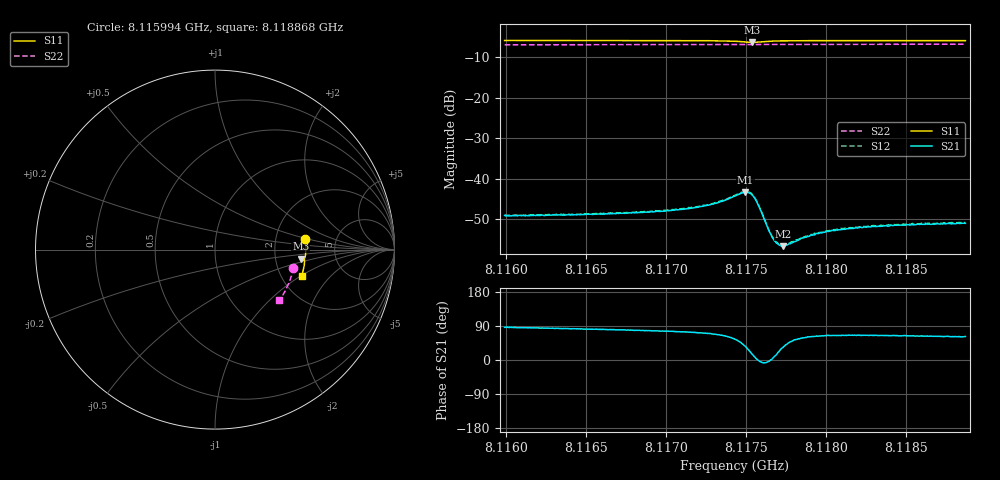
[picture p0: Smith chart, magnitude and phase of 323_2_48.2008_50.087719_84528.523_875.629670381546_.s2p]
#  HZ  S  RI  R  50.00
! Rohde & Schwarz Vector Network Analyzer
! Rohde-Schwarz,ZNB20-2Port,1311601062101988,3.16
! Created: UTC 3/20/2024, 11:50:34 AM
! freq[Hz]  re:S11  im:S11  re:S21  im:S21  re:S12  im:S12  re:S22  im:S22
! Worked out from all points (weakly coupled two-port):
!   401 points, 8.115994 GHz to 8.118868 GHz, reference 50 ohm
!   highest |S21| = -43.30 dB at 8.117496 GHz (marker M1); lowest = -56.6 dB at 8.117733 GHz (marker M2)
!   lowest |S11| = -6.4 dB at 8.117539 GHz (marker M3), VSWR 2.85, Z = 140 - j18.5 ohm
!   |S11| at or under -10 dB: nowhere
!   |S22| runs from -7.0 to -6.8 dB; largest |S21 - S12| = 0.00018
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8.1159939e9  0.5038 0.0585  0.000236 0.00352  0.000307 0.00354  0.4371 -0.1009
8.1164753e9  0.5062 0.0223  0.000499 0.00359  0.000574 0.00364  0.4295 -0.1334
8.1169568e9  0.5055 -0.0146  0.000922 0.00387  0.000979 0.0039  0.4197 -0.1653
8.1171436e9  0.5041 -0.0297  0.00122 0.00411  0.00131 0.00425  0.4152 -0.1777
8.1172729e9  0.502 -0.0413  0.00166 0.00449  0.00175 0.00453  0.4118 -0.1861
8.1173663e9  0.4983 -0.0505  0.00238 0.00486  0.00248 0.00493  0.409 -0.1922
8.117431e9  0.493 -0.0567  0.00355 0.00501  0.00369 0.00506  0.4072 -0.1963
8.1174956e9  0.4827 -0.0582  0.00554 0.00401  0.00569 0.00399  0.4048 -0.2003
8.1175172e9  0.4795 -0.0554  0.00607 0.00295  0.00622 0.00292  0.4042 -0.2016
8.1175388e9  0.4783 -0.0509  0.00607 0.00163  0.00623 0.00163  0.4036 -0.2024
8.1175531e9  0.4792 -0.048  0.00575 0.000857  0.0058 0.000758  0.4035 -0.2032
8.1175747e9  0.4826 -0.0452  0.00482 -3.75e-05  0.0049 -4.72e-05  0.4029 -0.2045
8.1176394e9  0.4932 -0.0475  0.00237 -0.000171  0.00241 -0.000198  0.4015 -0.2086
8.1176681e9  0.4958 -0.0506  0.00184 0.000178  0.00186 0.000116  0.4007 -0.2106
8.1176896e9  0.497 -0.0533  0.00156 0.00039  0.0016 0.000421  0.4 -0.2119
8.117704e9  0.4976 -0.055  0.00143 0.000571  0.00144 0.000607  0.3998 -0.213
8.1177328e9  0.4983 -0.0583  0.00122 0.000832  0.00125 0.000869  0.399 -0.2147
8.1179124e9  0.4986 -0.0756  0.000954 0.00178  0.000978 0.00181  0.3933 -0.2262
8.1180489e9  0.4972 -0.0868  0.000981 0.00208  0.00105 0.00213  0.3888 -0.2345
8.1181351e9  0.496 -0.0936  0.00102 0.0022  0.00109 0.00224  0.3859 -0.2399
8.1183938e9  0.4918 -0.1133  0.00113 0.00237  0.00115 0.00244  0.3764 -0.2555
8.118868e9  0.4823 -0.1477  0.00133 0.00249  0.00143 0.00253  0.3579 -0.2831
